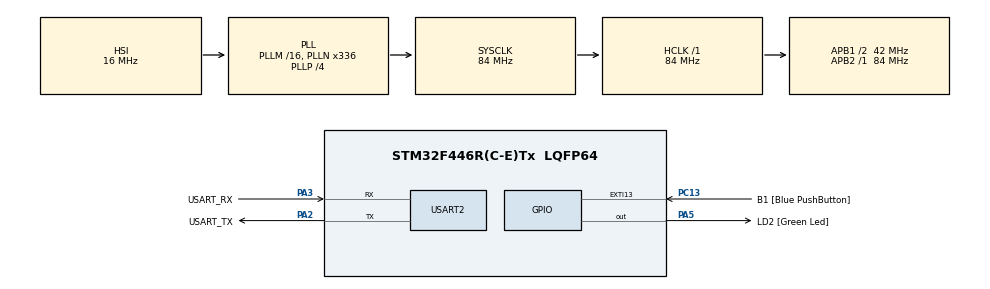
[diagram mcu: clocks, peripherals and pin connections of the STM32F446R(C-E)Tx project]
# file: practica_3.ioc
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Mcu.Family=STM32F4
Mcu.Name=STM32F446R(C-E)Tx
Mcu.Package=LQFP64
NVIC.PriorityGroup=NVIC_PRIORITYGROUP_0
PA13.GPIO_Label=TMS
PA13.Mode=Serial_Wire
PA13.Signal=SYS_JTMS-SWDIO
PA14.GPIO_Label=TCK
PA14.Mode=Serial_Wire
PA14.Signal=SYS_JTCK-SWCLK
PA2.GPIO_Label=USART_TX
PA2.Mode=Asynchronous
PA2.Signal=USART2_TX
PA3.GPIO_Label=USART_RX
PA3.Mode=Asynchronous
PA3.Signal=USART2_RX
PA5.GPIO_Label=LD2 [Green Led]
PA5.Signal=GPIO_Output
PB3.GPIO_Label=SWO
PB3.Signal=SYS_JTDO-SWO
PC13.GPIO_Label=B1 [Blue PushButton]
PC13.GPIO_ModeDefaultEXTI=GPIO_MODE_IT_FALLING
PC13.Signal=GPXTI13
PC14-OSC32_IN.Mode=LSE-External-Oscillator
PC14-OSC32_IN.Signal=RCC_OSC32_IN
PC15-OSC32_OUT.Mode=LSE-External-Oscillator
PC15-OSC32_OUT.Signal=RCC_OSC32_OUT
PH0-OSC_IN.Mode=HSE-External-Oscillator
PH0-OSC_IN.Signal=RCC_OSC_IN
PH1-OSC_OUT.Mode=HSE-External-Oscillator
PH1-OSC_OUT.Signal=RCC_OSC_OUT
ProjectManager.HeapSize=0x200
ProjectManager.StackSize=0x400
ProjectManager.TargetToolchain=STM32CubeIDE
RCC.48MHZClocksFreq_Value=84000000
RCC.AHBFreq_Value=84000000
RCC.APB1CLKDivider=RCC_HCLK_DIV2
RCC.APB1Freq_Value=42000000
RCC.APB1TimFreq_Value=84000000
RCC.APB2Freq_Value=84000000
RCC.APB2TimFreq_Value=84000000
RCC.CortexFreq_Value=84000000
RCC.FLatency-AdvancedSettings=FLASH_LATENCY_2
RCC.HCLKFreq_Value=84000000
RCC.HSE_VALUE=8000000
RCC.HSI_VALUE=16000000
RCC.PLLN=336
RCC.PLLP=RCC_PLLP_DIV4
RCC.SYSCLKFreq_VALUE=84000000
RCC.SYSCLKSource=RCC_SYSCLKSOURCE_PLLCLK
RCC.USBFreq_Value=168000000
RCC.VCOOutputFreq_Value=336000000
USART2.VirtualMode=VM_ASYNC
board=NUCLEO-F446RE

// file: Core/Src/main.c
/* USER CODE BEGIN Header */
/**
  ******************************************************************************
  * @file           : main.c
  * @brief          : Main program body
  ******************************************************************************
  * @attention
  *
  * Copyright (c) 2025 STMicroelectronics.
  * All rights reserved.
  *
  * This software is licensed under terms that can be found in the LICENSE file
  * in the root directory of this software component.
  * If no LICENSE file comes with this software, it is provided AS-IS.
  *
  ******************************************************************************
  */
/* USER CODE END Header */
#include "main.h"

/* USER CODE BEGIN PM */

#define CANTIDAD_CICLOS_REPETICION 1
/* USER CODE END PM */

UART_HandleTypeDef huart2;

void SystemClock_Config(void);
static void MX_GPIO_Init(void);
static void MX_USART2_UART_Init(void);

int main(void)
{

  /* USER CODE BEGIN 1 */

	const tick_t tiempo[] = {500, 100, 100, 1000};
	uint8_t array_posicion = 0;
	uint8_t cantidad_ciclos = CANTIDAD_CICLOS_REPETICION;
	delay_t delay_no_bloqueante;

  /* USER CODE END 1 */

  /* MCU Configuration--------------------------------------------------------*/

  /* Reset of all peripherals, Initializes the Flash interface and the Systick. */
	HAL_Init();

  /* USER CODE BEGIN Init */
  	 DelayInit(&delay_no_bloqueante, tiempo[array_posicion]);

  /* USER CODE END Init */

  /* Configure the system clock */
  SystemClock_Config();

  /* Initialize all configured peripherals */
  MX_GPIO_Init();
  MX_USART2_UART_Init();

  /* Infinite loop */
  while (1)
  {

    /* USER CODE BEGIN 3 */

	  if(DelayRead(&delay_no_bloqueante)){

		  HAL_GPIO_TogglePin(LD2_GPIO_Port, LD2_Pin);

		  if(cantidad_ciclos == 0) {

			  cantidad_ciclos = CANTIDAD_CICLOS_REPETICION;
			  array_posicion++;
			  /* Calculo el tamaño del array y si llegué al final comienzo desde el principio */
			  if(array_posicion >= (sizeof(tiempo)/sizeof(tiempo[0])))
				  array_posicion = 0;
			  DelayWrite(&delay_no_bloqueante, tiempo[array_posicion]);
		  } else {

			  cantidad_ciclos--;
		  }
	  }
  }
  /* USER CODE END 3 */
}

void SystemClock_Config(void)
{
  RCC_OscInitTypeDef RCC_OscInitStruct = {0};
  RCC_ClkInitTypeDef RCC_ClkInitStruct = {0};

  /** Configure the main internal regulator output voltage
  */
  __HAL_RCC_PWR_CLK_ENABLE();
  __HAL_PWR_VOLTAGESCALING_CONFIG(PWR_REGULATOR_VOLTAGE_SCALE3);

  /** Initializes the RCC Oscillators according to the specified parameters
  * in the RCC_OscInitTypeDef structure.
  */
  RCC_OscInitStruct.OscillatorType = RCC_OSCILLATORTYPE_HSI;
  RCC_OscInitStruct.HSIState = RCC_HSI_ON;
  RCC_OscInitStruct.HSICalibrationValue = RCC_HSICALIBRATION_DEFAULT;
  RCC_OscInitStruct.PLL.PLLState = RCC_PLL_ON;
  RCC_OscInitStruct.PLL.PLLSource = RCC_PLLSOURCE_HSI;
  RCC_OscInitStruct.PLL.PLLM = 16;
  RCC_OscInitStruct.PLL.PLLN = 336;
  RCC_OscInitStruct.PLL.PLLP = RCC_PLLP_DIV4;
  RCC_OscInitStruct.PLL.PLLQ = 2;
  RCC_OscInitStruct.PLL.PLLR = 2;
  if (HAL_RCC_OscConfig(&RCC_OscInitStruct) != HAL_OK)
  {
    Error_Handler();
  }

  /** Initializes the CPU, AHB and APB buses clocks
  */
  RCC_ClkInitStruct.ClockType = RCC_CLOCKTYPE_HCLK|RCC_CLOCKTYPE_SYSCLK
                              |RCC_CLOCKTYPE_PCLK1|RCC_CLOCKTYPE_PCLK2;
  RCC_ClkInitStruct.SYSCLKSource = RCC_SYSCLKSOURCE_PLLCLK;
  RCC_ClkInitStruct.AHBCLKDivider = RCC_SYSCLK_DIV1;
  RCC_ClkInitStruct.APB1CLKDivider = RCC_HCLK_DIV2;
  RCC_ClkInitStruct.APB2CLKDivider = RCC_HCLK_DIV1;

  if (HAL_RCC_ClockConfig(&RCC_ClkInitStruct, FLASH_LATENCY_2) != HAL_OK)
  {
    Error_Handler();
  }
}

static void MX_USART2_UART_Init(void)
{

  huart2.Instance = USART2;
  huart2.Init.BaudRate = 115200;
  huart2.Init.WordLength = UART_WORDLENGTH_8B;
  huart2.Init.StopBits = UART_STOPBITS_1;
  huart2.Init.Parity = UART_PARITY_NONE;
  huart2.Init.Mode = UART_MODE_TX_RX;
  huart2.Init.HwFlowCtl = UART_HWCONTROL_NONE;
  huart2.Init.OverSampling = UART_OVERSAMPLING_16;
  if (HAL_UART_Init(&huart2) != HAL_OK)
  {
    Error_Handler();
  }

}

static void MX_GPIO_Init(void)
{
  GPIO_InitTypeDef GPIO_InitStruct = {0};

  /* GPIO Ports Clock Enable */
  __HAL_RCC_GPIOC_CLK_ENABLE();
  __HAL_RCC_GPIOH_CLK_ENABLE();
  __HAL_RCC_GPIOA_CLK_ENABLE();
  __HAL_RCC_GPIOB_CLK_ENABLE();

  /*Configure GPIO pin Output Level */
  HAL_GPIO_WritePin(LD2_GPIO_Port, LD2_Pin, GPIO_PIN_RESET);

  /*Configure GPIO pin : B1_Pin */
  GPIO_InitStruct.Pin = B1_Pin;
  GPIO_InitStruct.Mode = GPIO_MODE_IT_FALLING;
  GPIO_InitStruct.Pull = GPIO_NOPULL;
  HAL_GPIO_Init(B1_GPIO_Port, &GPIO_InitStruct);

  /*Configure GPIO pin : LD2_Pin */
  GPIO_InitStruct.Pin = LD2_Pin;
  GPIO_InitStruct.Mode = GPIO_MODE_OUTPUT_PP;
  GPIO_InitStruct.Pull = GPIO_NOPULL;
  GPIO_InitStruct.Speed = GPIO_SPEED_FREQ_LOW;
  HAL_GPIO_Init(LD2_GPIO_Port, &GPIO_InitStruct);

}

void Error_Handler(void)
{
  __disable_irq();
  while (1)
  {
  }
}
